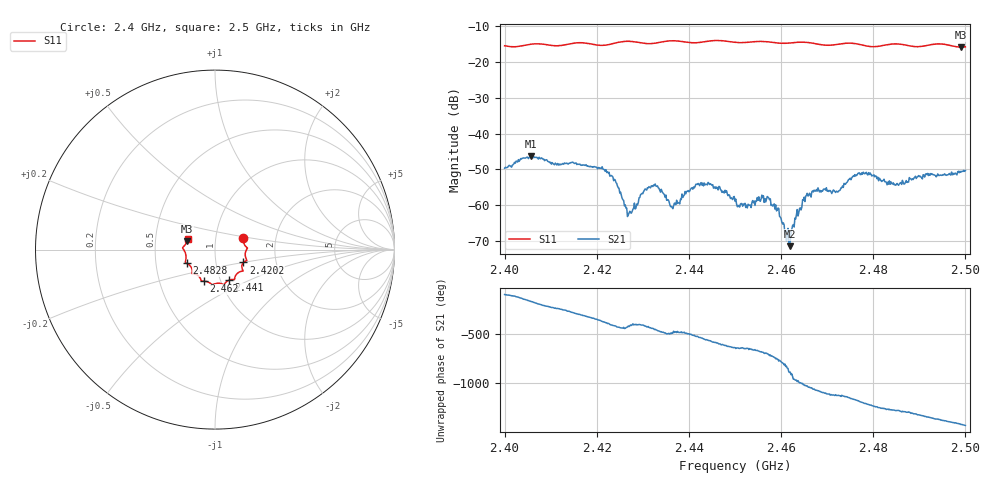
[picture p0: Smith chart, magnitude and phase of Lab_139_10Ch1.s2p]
# Hz S RI R 50
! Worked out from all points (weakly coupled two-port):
!   601 points, 2.4 GHz to 2.5 GHz, reference 50 ohm
!   highest |S21| = -46.36 dB at 2.4057 GHz (marker M1); lowest = -71.5 dB at 2.4618 GHz (marker M2)
!   lowest |S11| = -15.8 dB at 2.499 GHz (marker M3), VSWR 1.39, Z = 36.4 + j3.5 ohm
!   |S11| at or under -10 dB: start of sweep to end of sweep
!   S12 and S22 are empty: the file has one direction only
!   S11 on the Smith chart (normalised r, x): 2.4 GHz: 1.36, +0.17; 2.4202 GHz: 1.36, -0.20; 2.441 GHz: 1.10, -0.39; 2.462 GHz: 0.84, -0.30; 2.4828 GHz: 0.72, -0.11; 2.5 GHz: 0.73, +0.09
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2.4e9  0.1583 0.0623  -0.000831 -0.00318  0 0  0 0
2.405667e9  0.178 0.0119  -0.00477 -0.000547  0 0  0 0
2.416667e9  0.1773 -0.0607  0.0024 0.00268  0 0  0 0
2.420167e9  0.1582 -0.0714  0.00322 5.19e-05  0 0  0 0
2.423667e9  0.1505 -0.1044  0.00116 -0.00187  0 0  0 0
2.427167e9  0.1556 -0.1192  0.000387 -0.000721  0 0  0 0
2.430833e9  0.1281 -0.1297  0.000528 -0.00153  0 0  0 0
2.433333e9  0.1116 -0.1512  -0.000643 -0.00163  0 0  0 0
2.436333e9  0.1087 -0.1674  -0.000603 -0.000715  0 0  0 0
2.441e9  0.0783 -0.17  -0.00166 -0.000683  0 0  0 0
2.45e9  0.0282 -0.1878  0.000229 0.00111  0 0  0 0
2.457167e9  -0.0211 -0.1918  0.00124 0.000351  0 0  0 0
2.461833e9  -0.0593 -0.1759  -0.000263 -4.13e-05  0 0  0 0
2.462e9  -0.0606 -0.1758  -0.00031 -6.71e-05  0 0  0 0
2.465167e9  -0.0767 -0.1741  0.000614 0.000938  0 0  0 0
2.466667e9  -0.0789 -0.1681  0.00127 0.000857  0 0  0 0
2.472333e9  -0.1164 -0.1352  0.00111 -0.00104  0 0  0 0
2.477333e9  -0.1268 -0.1214  -0.000887 -0.00253  0 0  0 0
2.482833e9  -0.1576 -0.0768  -0.00209 0.000188  0 0  0 0
2.483333e9  -0.1607 -0.0753  -0.00195 0.000212  0 0  0 0
2.499e9  -0.1554 0.0468  0.00262 0.00118  0 0  0 0
2.5e9  -0.1522 0.0612  0.00295 0.000742  0 0  0 0
